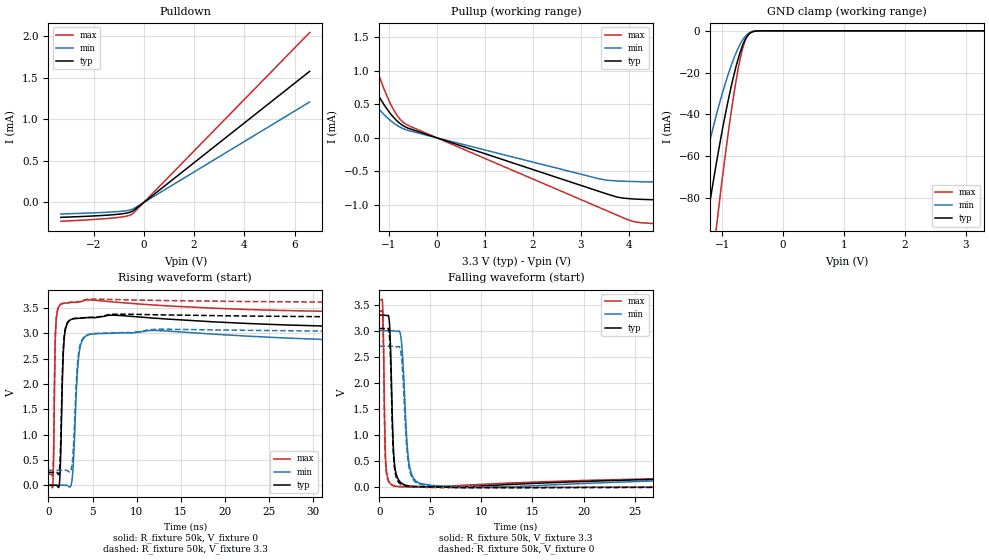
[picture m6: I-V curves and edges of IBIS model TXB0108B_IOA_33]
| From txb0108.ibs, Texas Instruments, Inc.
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[Model]   TXB0108B_IOA_33
Model_type  I/O
Enable   Active-High
Vref =   0
Rref =   1e6
Cref =   15p
Vmeas =   1.65
Vinl=1.05
Vinh=2.34
| variable   typ   min   max
C_comp   5.10pF   4.34pF   5.45pF
| C_pullup   5.00pF   4.30pF   5.39pF
| C_pulldown   15.52pF   3.32pF   29.74pF
| C_tri-state   5.10pF   4.34pF   5.45pF
[Temperature Range]   40   100   -40
| Ambient temperature   25   85   -40
[Voltage range]   3.3   3   3.6
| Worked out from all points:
|   slope of the pulldown table from 0 to 0.495 V, typ, clamps not added: 4.19 kohm
|   slope of the pullup table from 0 to 0.495 V, typ, clamps not added: 4.23 kohm
|   GND clamp passes 1 mA (typ) near -0.54 V on its own axis
|   rising waveform, R_fixture 50k, V_fixture 0: 20-80 % time 258ps typ, 402ps min, 158ps max; typ from 0 V to 3.04 V
|   falling waveform, R_fixture 50k, V_fixture 3.3: 20-80 % time 257ps typ, 421ps min, 157ps max; typ from 3.3 V to 0.255 V
|   rising waveform, R_fixture 50k, V_fixture 3.3: 20-80 % time 295ps typ, 470ps min, 177ps max; typ from 0.255 V to 3.3 V
|   falling waveform, R_fixture 50k, V_fixture 0: 20-80 % time 287ps typ, 489ps min, 170ps max; typ from 3.04 V to 0 V
[GND Clamp]
| TXB0108B_IOA_33
|   Voltage   I(typ)   I(min)   I(max)
-3.3V     -586.1mA   -423.4mA   -770.9mA
-1.515V   -144mA     -94.51mA   -208.6mA
-1.475V   -135.5mA   -88.72mA   -197mA
-1.26V    -92.68mA   -59.7mA    -136.8mA
-1.09V    -62.24mA   -39.58mA   -92.61mA
-915mV    -35.06mA   -21.98mA   -51.78mA
-760mV    -15.65mA   -9.697mA   -21.73mA
-650mV    -5.842mA   -3.711mA   -6.919mA
-595mV    -2.778mA   -1.849mA   -2.842mA
-540mV    -1.057mA   -756.3uA   -901.9uA
-390mV    -29.9uA    -30.24uA   -11.6uA
3.3V      578.4pA    2.059nA    114.1pA
[Pulldown]
| TXB0108B_IOA_33
|   Voltage   I(typ)   I(min)   I(max)
-3.3V     -179.1uA   -139uA     -226.7uA
-1.13V    -145.1uA   -112uA     -184.1uA
-665mV    -126.6uA   -98.15uA   -163.1uA
-445mV    -102.9uA   -79.2uA    -134.3uA
6.6V      1.575mA    1.207mA    2.041mA
[Pullup]
| TXB0108B_IOA_33
|   Voltage   I(typ)   I(min)   I(max)
-3.3V     6.744mA    2.523mA    12.45mA
-2.06V    2.541mA    1.648mA    3.98mA
-1.81V    1.667mA    1.125mA    2.576mA
-1.545V   1.111mA    757.9uA    1.731mA
-1.455V   963.4uA    659.1uA    1.497mA
-1.27V    697.6uA    482.1uA    1.064mA
-1.02V    410uA      291.4uA    589.5uA
-810mV    239.1uA    177.4uA    315.6uA
-645mV    159uA      121.8uA    203.2uA
3.39V     -800.7uA   -612.4uA   -1.04mA
4.04V     -908.3uA   -650.2uA   -1.236mA
6.6V      -949.1uA   -675.3uA   -1.318mA
[Ramp]
| TXB0108B_IOA_33
| variable   typ   min   max
dV/dt_r   2.04/3.15E-10   1.85/5.11E-10   2.23/1.88E-10
dV/dt_f   1.98/3.06E-10   1.80/5.12E-10   2.17/1.78E-10
R_load = 50k
[Rising Waveform]
| TXB0108B_IOA_33
R_fixture =   50k
C_fixture =   0
L_fixture =   0
V_fixture =   0
V_fixture_min = 0
V_fixture_max = 0
|   Time   V(typ)   V(min)   V(max)
0s        551.6nV    2.491uV    61.57nV
489ps     -156.8uV   -13.59uV   -29.64mV
753ps     528.2uV    36.24uV    2.695V
1.017ns   -13.54mV   -14.8uV    3.428V
1.325ns   266.4mV    -122.7uV   3.557V
1.897ns   3.049V     1.953mV    3.592V
2.645ns   3.275V     68.42mV    3.609V
3.393ns   3.293V     2.478V     3.618V
4.317ns   3.307V     2.951V     3.655V
217.8ns   3.042V     2.702V     3.38V
[Falling Waveform]
| TXB0108B_IOA_33
R_fixture =   50k
C_fixture =   0
L_fixture =   0
V_fixture =   3.3
V_fixture_min = 3
V_fixture_max = 3.6
|   Time   V(typ)   V(min)   V(max)
0s        3.3V       3V         3.6V
357ps     3.3V       3V         3.36V
665ps     3.293V     3V         375.6mV
1.017ns   3.09V      3V         76.22mV
1.369ns   797.3mV    2.997V     25.12mV
1.765ns   182.2mV    2.99V      8.48mV
2.205ns   67.78mV    2.718V     4.628mV
3.041ns   13.61mV    325.1mV    -834.3uV
5.637ns   -622uV     19.21mV    813.8uV
217.8ns   255mV      295.2mV    218.5mV
[Rising Waveform]
| TXB0108B_IOA_33
R_fixture =   50k
C_fixture =   0
L_fixture =   0
V_fixture =   3.3
V_fixture_min = 3
V_fixture_max = 3.6
|   Time   V(typ)   V(min)   V(max)
0s        255mV      295.5mV    218.6mV
489ps     254.8mV    295.5mV    187.3mV
753ps     255.5mV    295.5mV    2.805V
1.017ns   241.3mV    295.4mV    3.452V
1.281ns   365.9mV    295.3mV    3.555V
1.897ns   3.079V     297.5mV    3.594V
2.689ns   3.282V     425.9mV    3.61V
3.481ns   3.296V     2.682V     3.622V
4.449ns   3.31V      2.97V      3.669V
217.8ns   3.3V       3V         3.6V
[Falling Waveform]
| TXB0108B_IOA_33
R_fixture =   50k
C_fixture =   0
L_fixture =   0
V_fixture =   0
V_fixture_min = 0
V_fixture_max = 0
|   Time   V(typ)   V(min)   V(max)
0s        3.042V     2.701V     3.38V
357ps     3.042V     2.701V     3.146V
665ps     3.037V     2.701V     325.8mV
973ps     2.965V     2.701V     78.44mV
1.369ns   678.6mV    2.699V     21.86mV
1.765ns   131.3mV    2.692V     6.835mV
2.161ns   47.79mV    2.516V     3.479mV
2.997ns   7.589mV    295mV      -2.094mV
5.153ns   -2.533mV   18.67mV    -16.21mV
217.8ns   42.21uV    46uV       33.15uV
